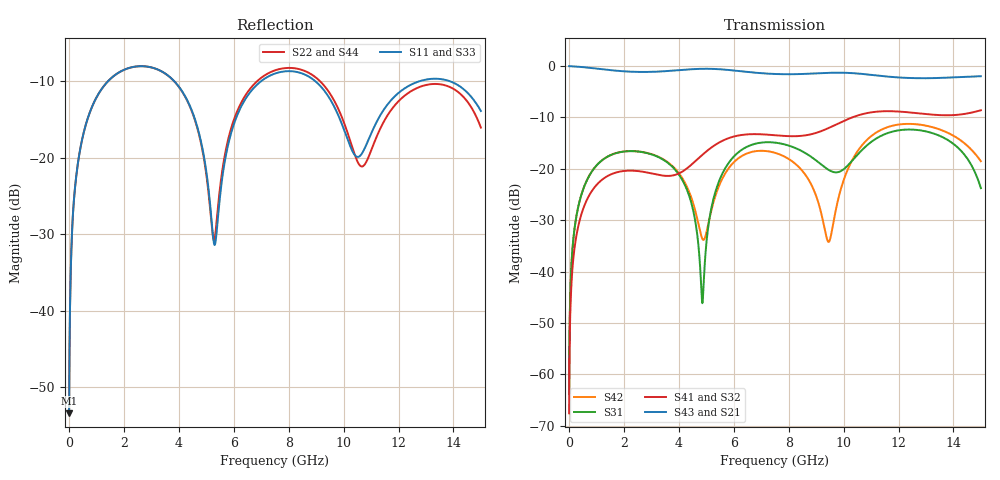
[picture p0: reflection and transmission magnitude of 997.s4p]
! Created with skrf 1.8.0 (http://scikit-rf.org).
# GHz S RI R 50.0
!freq ReS11 ImS11 ReS12 ImS12 ReS13 ImS13
! ReS14 ImS14
! ReS21 ImS21 ReS22 ImS22 ReS23 ImS23
! ReS24 ImS24
! ReS31 ImS31 ReS32 ImS32 ReS33 ImS33
! ReS34 ImS34
! ReS41 ImS41 ReS42 ImS42 ReS43 ImS43
! ReS44 ImS44
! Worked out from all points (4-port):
!   2499 points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, 5 MHz to 15 GHz, reference 50 ohm
!   strongest paths, dB at 5 MHz, 3.476 GHz, 7.19 GHz, 11.1 GHz, 15 GHz:
!     S43: 0.0, -1.0, -1.5, -1.8, -2.0
!     S21: 0.0, -1.0, -1.5, -1.8, -2.0
!     S41: -67.6, -21.4, -13.3, -8.9, -8.6
!     S32: -67.6, -21.4, -13.4, -9.0, -8.6
!     S31: -63.8, -18.4, -14.8, -14.4, -23.8
!     S42: -63.8, -18.3, -16.5, -13.3, -18.5
!   lowest |S11| = -53.4 dB at 5 MHz (marker M1), VSWR 1.00, Z = 50.2 + j0.13 ohm
!   |S11| at or under -10 dB: start of sweep to 1.423 GHz; 3.833 GHz to 6.997 GHz (3.164 GHz wide, 58.4 % of centre); 8.97 GHz to 12.77 GHz (3.799 GHz wide, 35 % of centre) (the widest 3 of 4)
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0.005  0.0017 0.00129  0.9983 -0.0033  8.44e-05 0.000644  -8.22e-05 -0.000408
       0.9983 -0.0033  0.0017 0.00129  -8.22e-05 -0.000408  8.44e-05 0.000644
       8.44e-05 0.000644  -8.22e-05 -0.000408  0.0017 0.00129  0.9983 -0.0033
       -8.22e-05 -0.000408  8.44e-05 0.000644  0.9983 -0.0033  0.0017 0.00129
0.3126303  0.0255 0.0849  0.9652 -0.2053  0.0113 0.0381  -0.00945 -0.0238
           0.9652 -0.2053  0.0255 0.0849  -0.00944 -0.0238  0.0113 0.0381
           0.0113 0.0381  -0.00944 -0.0238  0.0255 0.0849  0.9652 -0.2053
           -0.00945 -0.0238  0.0113 0.0381  0.9652 -0.2053  0.0255 0.0849
1.569404  0.2859 0.1744  0.5172 -0.7484  0.1269 0.0538  -0.0892 -0.00125
          0.5172 -0.7484  0.286 0.1742  -0.0892 -0.00135  0.1271 0.0535
          0.1269 0.0538  -0.0892 -0.00135  0.2859 0.1743  0.5172 -0.7484
          -0.0892 -0.00125  0.1271 0.0535  0.5172 -0.7484  0.2859 0.1743
4.852022  0.054 -0.1037  -0.8871 -0.3134  0.00494 -0.000454  -0.0405 0.1303
          -0.8871 -0.3134  0.0542 -0.0998  -0.0418 0.1298  -0.0192 -0.00834
          0.00494 -0.000454  -0.0418 0.1298  0.0532 -0.1036  -0.8871 -0.3135
          -0.0405 0.1303  -0.0192 -0.00834  -0.8871 -0.3135  0.0548 -0.0992
8.140892  0.3666 -0.0123  -0.0115 0.8327  0.1123 -0.1187  0.2016 -0.0498
          -0.0115 0.8327  0.3842 -0.0309  0.2017 -0.0468  0.108 -0.0464
          0.1123 -0.1187  0.2017 -0.0468  0.3652 -0.011  -0.0121 0.8335
          0.2016 -0.0498  0.108 -0.0464  -0.0121 0.8335  0.382 -0.0317
10.9108  0.1221 0.0488  0.8257 -0.0423  0.00951 0.1741  -0.0413 -0.3487
         0.8257 -0.0423  0.0988 0.022  -0.0357 -0.3485  0.0781 0.1818
         0.00951 0.1741  -0.0357 -0.3485  0.1244 0.0552  0.8255 -0.0426
         -0.0413 -0.3487  0.0781 0.1818  0.8255 -0.0426  0.0967 0.0261
15  0.1523 -0.1325  -0.55 -0.5775  0.0399 -0.0511  -0.2473 0.2772
    -0.55 -0.5775  0.1164 -0.1056  -0.2556 0.2683  -0.0317 -0.1143
    0.0399 -0.0511  -0.2556 0.2683  0.1538 -0.1374  -0.5462 -0.5803
    -0.2473 0.2772  -0.0317 -0.1143  -0.5462 -0.5803  0.1228 -0.1031
